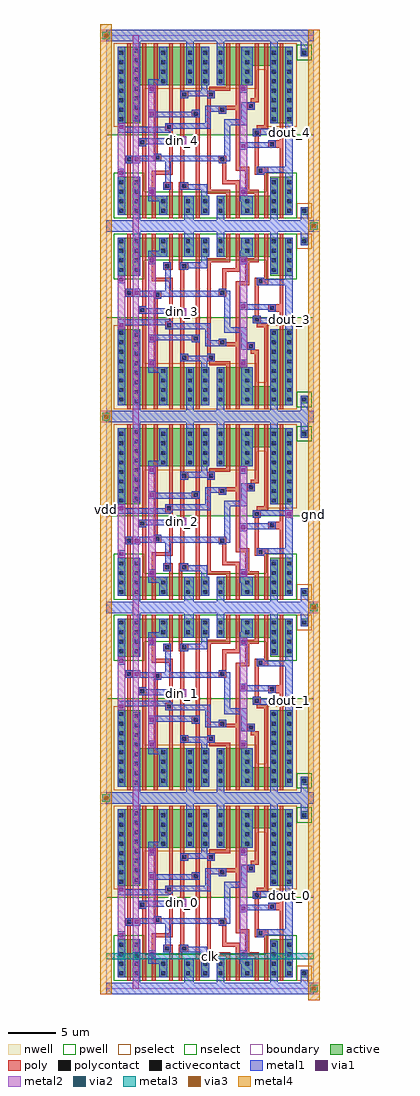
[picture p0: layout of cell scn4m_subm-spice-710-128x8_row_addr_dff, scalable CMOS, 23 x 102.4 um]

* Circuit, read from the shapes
.subckt scn4m_subm-spice-710-128x8_row_addr_dff clk din_0 din_1 din_2 din_3 din_4 dout_0 dout_1 dout_2 dout_3 dout_4 gnd vdd
M1 gnd clk n1 gnd nfet w=4u l=0.4u
M2 gnd clk n2 gnd nfet w=4u l=0.4u
M3 gnd clk n3 gnd nfet w=4u l=0.4u
M4 gnd clk n4 gnd nfet w=4u l=0.4u
M5 gnd clk n5 gnd nfet w=4u l=0.4u
M6 n6 din_0 gnd gnd nfet w=2u l=0.4u
M7 n7 din_1 gnd gnd nfet w=2u l=0.4u
M8 n8 din_2 gnd gnd nfet w=2u l=0.4u
M9 n9 din_3 gnd gnd nfet w=2u l=0.4u
M10 n10 din_4 gnd gnd nfet w=2u l=0.4u
M11 n11 n1 n6 gnd nfet w=2u l=0.4u
M12 n12 n2 n7 gnd nfet w=2u l=0.4u
M13 n13 n3 n8 gnd nfet w=2u l=0.4u
M14 n14 n4 n9 gnd nfet w=2u l=0.4u
M15 n15 n5 n10 gnd nfet w=2u l=0.4u
M16 n16 clk n11 gnd nfet w=2u l=0.4u
M17 n17 clk n12 gnd nfet w=2u l=0.4u
M18 n18 clk n13 gnd nfet w=2u l=0.4u
M19 n19 clk n14 gnd nfet w=2u l=0.4u
M20 n20 clk n15 gnd nfet w=2u l=0.4u
M21 gnd n21 n16 gnd nfet w=2u l=0.4u
M22 gnd n22 n17 gnd nfet w=2u l=0.4u
M23 gnd n23 n18 gnd nfet w=2u l=0.4u
M24 gnd n24 n19 gnd nfet w=2u l=0.4u
M25 gnd n25 n20 gnd nfet w=2u l=0.4u
M26 n21 n11 gnd gnd nfet w=2u l=0.4u
M27 n22 n12 gnd gnd nfet w=2u l=0.4u
M28 n23 n13 gnd gnd nfet w=2u l=0.4u
M29 n24 n14 gnd gnd nfet w=2u l=0.4u
M30 n25 n15 gnd gnd nfet w=2u l=0.4u
M31 n26 n21 gnd gnd nfet w=2u l=0.4u
M32 n27 n22 gnd gnd nfet w=2u l=0.4u
M33 n28 n23 gnd gnd nfet w=2u l=0.4u
M34 n29 n24 gnd gnd nfet w=2u l=0.4u
M35 n30 n25 gnd gnd nfet w=2u l=0.4u
M36 n31 clk n26 gnd nfet w=2u l=0.4u
M37 n32 clk n27 gnd nfet w=2u l=0.4u
M38 n33 clk n28 gnd nfet w=2u l=0.4u
M39 n34 clk n29 gnd nfet w=2u l=0.4u
M40 n35 clk n30 gnd nfet w=2u l=0.4u
M41 n36 n1 n31 gnd nfet w=2u l=0.4u
M42 n37 n2 n32 gnd nfet w=2u l=0.4u
M43 n38 n3 n33 gnd nfet w=2u l=0.4u
M44 n39 n4 n34 gnd nfet w=2u l=0.4u
M45 n40 n5 n35 gnd nfet w=2u l=0.4u
M46 gnd dout_0 n36 gnd nfet w=2u l=0.4u
M47 gnd dout_1 n37 gnd nfet w=2u l=0.4u
M48 gnd dout_2 n38 gnd nfet w=2u l=0.4u
M49 gnd dout_3 n39 gnd nfet w=2u l=0.4u
M50 gnd dout_4 n40 gnd nfet w=2u l=0.4u
M51 dout_0 n31 gnd gnd nfet w=4u l=0.4u
M52 dout_1 n32 gnd gnd nfet w=4u l=0.4u
M53 dout_2 n33 gnd gnd nfet w=4u l=0.4u
M54 dout_3 n34 gnd gnd nfet w=4u l=0.4u
M55 dout_4 n35 gnd gnd nfet w=4u l=0.4u
M56 vdd clk n1 vdd pfet w=8u l=0.4u
M57 vdd clk n2 vdd pfet w=8u l=0.4u
M58 vdd clk n3 vdd pfet w=8u l=0.4u
M59 vdd clk n4 vdd pfet w=8u l=0.4u
M60 vdd clk n5 vdd pfet w=8u l=0.4u
M61 n41 din_0 vdd vdd pfet w=4u l=0.4u
M62 n42 din_1 vdd vdd pfet w=4u l=0.4u
M63 n43 din_2 vdd vdd pfet w=4u l=0.4u
M64 n44 din_3 vdd vdd pfet w=4u l=0.4u
M65 n45 din_4 vdd vdd pfet w=4u l=0.4u
M66 n11 clk n41 vdd pfet w=4u l=0.4u
M67 n12 clk n42 vdd pfet w=4u l=0.4u
M68 n13 clk n43 vdd pfet w=4u l=0.4u
M69 n14 clk n44 vdd pfet w=4u l=0.4u
M70 n15 clk n45 vdd pfet w=4u l=0.4u
M71 n46 n1 n11 vdd pfet w=4u l=0.4u
M72 n47 n2 n12 vdd pfet w=4u l=0.4u
M73 n48 n3 n13 vdd pfet w=4u l=0.4u
M74 n49 n4 n14 vdd pfet w=4u l=0.4u
M75 n50 n5 n15 vdd pfet w=4u l=0.4u
M76 vdd n21 n46 vdd pfet w=4u l=0.4u
M77 vdd n22 n47 vdd pfet w=4u l=0.4u
M78 vdd n23 n48 vdd pfet w=4u l=0.4u
M79 vdd n24 n49 vdd pfet w=4u l=0.4u
M80 vdd n25 n50 vdd pfet w=4u l=0.4u
M81 n21 n11 vdd vdd pfet w=4u l=0.4u
M82 n22 n12 vdd vdd pfet w=4u l=0.4u
M83 n23 n13 vdd vdd pfet w=4u l=0.4u
M84 n24 n14 vdd vdd pfet w=4u l=0.4u
M85 n25 n15 vdd vdd pfet w=4u l=0.4u
M86 n51 n21 vdd vdd pfet w=4u l=0.4u
M87 n52 n22 vdd vdd pfet w=4u l=0.4u
M88 n53 n23 vdd vdd pfet w=4u l=0.4u
M89 n54 n24 vdd vdd pfet w=4u l=0.4u
M90 n55 n25 vdd vdd pfet w=4u l=0.4u
M91 n31 n1 n51 vdd pfet w=4u l=0.4u
M92 n32 n2 n52 vdd pfet w=4u l=0.4u
M93 n33 n3 n53 vdd pfet w=4u l=0.4u
M94 n34 n4 n54 vdd pfet w=4u l=0.4u
M95 n35 n5 n55 vdd pfet w=4u l=0.4u
M96 n56 clk n31 vdd pfet w=2u l=0.4u
M97 n57 clk n32 vdd pfet w=2u l=0.4u
M98 n58 clk n33 vdd pfet w=2u l=0.4u
M99 n59 clk n34 vdd pfet w=2u l=0.4u
M100 n60 clk n35 vdd pfet w=2u l=0.4u
M101 vdd dout_0 n56 vdd pfet w=2u l=0.4u
M102 vdd dout_1 n57 vdd pfet w=2u l=0.4u
M103 vdd dout_2 n58 vdd pfet w=2u l=0.4u
M104 vdd dout_3 n59 vdd pfet w=2u l=0.4u
M105 vdd dout_4 n60 vdd pfet w=2u l=0.4u
M106 dout_0 n31 vdd vdd pfet w=8u l=0.4u
M107 dout_1 n32 vdd vdd pfet w=8u l=0.4u
M108 dout_2 n33 vdd vdd pfet w=8u l=0.4u
M109 dout_3 n34 vdd vdd pfet w=8u l=0.4u
M110 dout_4 n35 vdd vdd pfet w=8u l=0.4u
.ends

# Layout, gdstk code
import gdstk
lib = gdstk.Library(unit=1e-6, precision=1e-09)
def R(c, l, rs):  # rectangles x0, y0, x1, y1
    for r in rs: c.add(gdstk.rectangle(r[:2], r[2:], *l))
def A(c, l, x, y, w, h, nx, ny, dx, dy):  # array of equal rectangles
    R(c, l, [(x+i*dx, y+j*dy, x+i*dx+w, y+j*dy+h) for i in range(nx) for j in range(ny)])
via3 = (30, 0)
metal4 = (31, 0)
pwell = (41, 0)
nwell = (42, 0)
active = (43, 0)
pselect = (44, 0)
nselect = (45, 0)
poly = (46, 0)
polycontact = (47, 0)
activecontact = (48, 0)
metal1 = (49, 0)
via1 = (50, 0)
metal2 = (51, 0)
via2 = (61, 0)
metal3 = (62, 0)
boundary = (63, 0)

dff = lib.new_cell('dff')
R(dff, pwell, [(0,-0.6,21.8,9.6)])
R(dff, nwell, [(0,9.6,21.8,20.6)])
R(dff, active, [(1.2,1.2,10.8,3.2), (11.6,1.2,19.6,3.2), (20.4,1.2,21.2,2), (1.2,3.2,3.6,5.2), (17.2,3.2,19.6,5.2), (1.2,10.8,3.6,14.8), (17.2,10.8,19.6,16.8), (1.2,14.8,10.8,18.8), (11.6,14.8,15.4,16.8), (11.6,16.8,19.6,18.8), (20.4,17.8,21.2,18.6)])
R(dff, pselect, [(20,0.8,21.6,2.4), (0.8,10.4,4,14.4), (16.8,10.4,20,16.4), (0.8,14.4,15.8,16.4), (0.8,16.4,20,19.2)])
R(dff, nselect, [(0.8,0.8,20,3.6), (0.8,3.6,4,5.6), (16.8,3.6,20,5.6), (20,17.4,21.6,19)])
R(dff, poly, [(2.2,0.8,2.6,6.6), (3.8,0.8,4.2,8.4), (4.8,0.8,5.2,5.4), (6.6,0.8,7,3.8), (7.6,0.8,8,3.8), (9.4,0.8,9.8,11.4), (12.6,0.8,13,3.4), (13.6,0.8,14,4.4), (15.6,0.8,16,3.4), (16.6,0.8,17,5.4), (18.2,0.8,18.6,8.2), (10.6,3.4,13,3.8), (14.6,3.4,16,3.8), (6,3.8,7,4.6), (7.6,3.8,8.6,4.6), (10.6,3.8,11,13.4), (14.6,3.8,15,5.8), (12.2,4.4,14,4.8), (7.8,4.6,8.2,13.4), (12.2,4.8,12.6,6.6), (4.8,5.4,7,5.8), (15.6,5.4,17,6.2), (6.6,5.8,7,10), (13.6,5.8,15,6.2), (13.6,6.2,14,12.2), (15.6,6.2,16,9.4), (2,6.6,2.8,7.4), (11.8,6.6,12.6,7.4), (5,6.8,5.8,7.6), (2.2,7.4,2.6,19.2), (5,7.6,5.4,19.2), (17,8.2,18.6,9), (3.4,8.4,4.2,9.2), (18.2,9,18.6,19.2), (3.8,9.2,4.2,19.2), (15.4,9.4,16.2,10.2), (6.2,10,7,10.8), (15.8,10.2,17,10.6), (16.6,10.6,17,19.2), (6.6,10.8,7,19.2), (9,11.4,9.8,12.2), (11.8,11.8,12.6,12.2), (9.4,12.2,9.8,19.2), (11.8,12.2,14,12.6), (14.8,12.2,15.6,13), (13.6,12.6,14,19.2), (15.2,13,16,13.4), (7.8,13.4,8.6,14.2), (10.6,13.4,11.4,14.2), (15.6,13.4,16,19.2), (7.8,14.2,8.2,19.2), (10.8,14.2,13,14.6), (12.6,14.6,13,19.2)])
R(dff, polycontact, [(6.2,4,6.6,4.4), (8,4,8.4,4.4), (16,5.6,16.4,6), (2.2,6.8,2.6,7.2), (12,6.8,12.4,7.2), (5.2,7,5.6,7.4), (17.2,8.4,17.6,8.8), (3.6,8.6,4,9), (15.6,9.6,16,10), (6.4,10.2,6.8,10.6), (9.2,11.6,9.6,12), (12,12,12.4,12.4), (15,12.4,15.4,12.8), (8,13.6,8.4,14), (10.8,13.6,11.2,14)])
A(dff, activecontact, 1.4, 1.4, 0.4, 0.4, 1, 4, 0, 1)
A(dff, activecontact, 3, 1.4, 0.4, 0.4, 1, 4, 0, 1)
A(dff, activecontact, 11.8, 1.4, 0.4, 0.4, 3, 2, 2.8, 1)
A(dff, activecontact, 19, 1.4, 0.4, 0.4, 1, 4, 0, 1)
A(dff, activecontact, 1.4, 11, 0.4, 0.4, 1, 8, 0, 1)
A(dff, activecontact, 17.4, 11, 0.4, 0.4, 1, 7, 0, 1)
A(dff, activecontact, 19, 11, 0.4, 0.4, 1, 7, 0, 1)
A(dff, activecontact, 3, 11.2, 0.4, 0.4, 1, 8, 0, 1)
A(dff, activecontact, 5.8, 15, 0.4, 0.4, 1, 4, 0, 1)
A(dff, activecontact, 8.6, 15, 0.4, 0.4, 3, 4, 1.6, 1)
A(dff, activecontact, 14.6, 15, 0.4, 0.4, 1, 4, 0, 1)
A(dff, activecontact, 17.4, 18, 0.4, 0.4, 3, 1, 1.6, 0)
R(dff, activecontact, [(5.8,1.4,6.2,1.8), (8.4,1.4,8.8,1.8), (10.2,1.4,10.6,1.8), (20.6,1.4,21,1.8), (5.8,2.4,6.2,2.8), (8.4,2.4,8.8,2.8), (10.2,2.4,10.6,2.8), (17.4,3.4,17.8,3.8), (17.4,4.4,17.8,4.8)])
R(dff, metal1, [(0,-0.6,21.8,0.6), (0,-0.6,21.8,0.6), (2.8,0.6,3.6,5.2), (8.2,0.6,9.2,3.2), (11.6,0.6,12.4,3.2), (17.2,0.6,18,5), (20.4,0.6,21.2,2), (1.2,1.2,2,6), (5.6,1.2,6.4,2.6), (10,1.2,10.8,3.2), (14.2,1.2,15.4,2.6), (18.8,1.2,19.6,5.6), (4.4,2.6,6.4,3.2), (14,2.6,15.4,3.2), (4.4,3.2,5.2,4), (10,3.2,10.6,3.8), (14,3.2,14.8,4), (6,3.8,6.8,4.6), (7.8,3.8,10.6,4.4), (7.8,4.4,8.6,4.6), (6.2,4.6,6.8,6.8), (15.8,5.4,16.6,5.6), (15.8,5.6,19.6,6.2), (18.8,6.2,19.6,9.6), (2,6.6,3.6,6.8), (11.8,6.6,12.6,6.8), (2,6.8,13,7.4), (5,7.4,5.8,7.6), (12.4,7.4,13,10.6), (14,8,14.8,8.2), (14,8.2,17.8,8.8), (3.4,8.4,4.2,8.6), (3.4,8.6,8.4,9.2), (17,8.8,17.8,9), (7.6,9.2,8.4,9.4), (15.4,9.4,16.2,9.6), (15.4,9.6,19.6,10.2), (1.2,9.8,6.8,10), (1.2,10,7,10.2), (1.2,10.2,11,10.4), (18.8,10.2,19.6,18.8), (1.2,10.4,2,18.8), (6.2,10.4,11,10.8), (12.4,10.6,14.8,11.2), (10.4,10.8,11,12), (17.2,10.8,18,19.4), (2.8,11,3.6,19.4), (14.2,11.2,14.8,12.2), (4.4,11.4,9.8,12), (11.8,11.8,12.6,12), (4.4,12,5.2,12.2), (9,12,9.8,12.2), (10.4,12,12.6,12.6), (14.2,12.2,15.6,13), (7.8,13.4,8.6,13.6), (10.6,13.4,11.4,13.6), (7.8,13.6,11.4,14.2), (4.4,14,5.2,14.8), (14,14,14.8,14.8), (10,14.2,10.6,14.8), (4.4,14.8,6.4,15.4), (8.4,14.8,9.2,19.4), (10,14.8,10.8,18.8), (11.6,14.8,12.4,19.4), (14.2,14.8,15.4,18.8), (5.6,15.4,6.4,18.8), (20.4,17.8,21.2,19.4), (0,19.4,21.8,20.6), (0,19.4,21.8,20.6)])
R(dff, via1, [(4.6,3.4,5,3.8), (14.2,3.4,14.6,3.8), (1.4,5.4,1.8,5.8), (3,6.8,3.4,7.2), (14.2,8.2,14.6,8.6), (7.8,8.8,8.2,9.2), (19,9.6,19.4,10), (1.4,10.2,1.8,10.6), (4.6,11.6,5,12), (4.6,14.2,5,14.6), (14.2,14.2,14.6,14.6)])
R(dff, metal2, [(4.4,3.2,5.2,14.8), (14,3.2,14.8,14.8), (1.2,5.2,2,10.8), (2.8,6.6,3.6,7.4), (2.8,6.6,3.6,7.4), (7.6,8.6,8.4,9.4), (7.6,8.6,8.4,9.4), (18.8,9.4,19.6,10.2), (18.8,9.4,19.6,10.2)])
R(dff, boundary, [(0,0,21.8,20)])
dff.add(gdstk.Label('clk', (3,6.8), layer=51, texttype=0))
dff.add(gdstk.Label('D', (8,9), layer=51, texttype=0))
dff.add(gdstk.Label('Q', (19.2,9.8), layer=51, texttype=0))
dff.add(gdstk.Label('vdd', (6.4,19.6), layer=49, texttype=0))
dff.add(gdstk.Label('gnd', (8.8,0.2), layer=49, texttype=0))
dff.add(gdstk.Label('D', (8,9), layer=51, texttype=0))
dff.add(gdstk.Label('Q', (19.2,9.8), layer=51, texttype=0))
dff.add(gdstk.Label('clk', (3.2,7), layer=51, texttype=0))
dff.add(gdstk.Label('vdd', (10.9,20), layer=49, texttype=0))
dff.add(gdstk.Label('gnd', (10.9,0), layer=49, texttype=0))

scn4m_subm_spice_710_128 = lib.new_cell('scn4m_subm-spice-710-128x8_contact_18')
R(scn4m_subm_spice_710_128, metal1, [(0,0,0.8,0.8)])
R(scn4m_subm_spice_710_128, via1, [(0.2,0.2,0.6,0.6)])
R(scn4m_subm_spice_710_128, metal2, [(0,0,0.8,0.8)])
R(scn4m_subm_spice_710_128, boundary, [(0,0,0.8,0.8)])

c_scn4m_subm_spice_710_128 = lib.new_cell('scn4m_subm-spice-710-128x8_contact_19')
R(c_scn4m_subm_spice_710_128, metal2, [(0,0,0.8,0.8)])
R(c_scn4m_subm_spice_710_128, via2, [(0.2,0.2,0.6,0.6)])
R(c_scn4m_subm_spice_710_128, metal3, [(0,0,0.8,0.8)])
R(c_scn4m_subm_spice_710_128, boundary, [(0,0,0.8,0.8)])

c_scn4m_subm_spice_710_128_ = lib.new_cell('scn4m_subm-spice-710-128x8_contact_22')
R(c_scn4m_subm_spice_710_128_, via3, [(0.4,0.4,0.8,0.8)])
R(c_scn4m_subm_spice_710_128_, metal4, [(0,0,1.2,1.2)])
R(c_scn4m_subm_spice_710_128_, metal3, [(0.2,0.2,1,1)])
R(c_scn4m_subm_spice_710_128_, boundary, [(0,0,1.2,1.2)])

c_scn4m_subm_spice_710_128__ = lib.new_cell('scn4m_subm-spice-710-128x8_row_addr_dff')
R(c_scn4m_subm_spice_710_128__, metal4, [(21.2,-1.2,22.4,100.6), (-0.6,-0.6,0.6,101.2)])
R(c_scn4m_subm_spice_710_128__, metal2, [(2.8,0,3.4,100), (7.6,8.6,8.4,9.4), (18.8,9.4,19.6,10.2), (18.8,29.8,19.6,30.6), (7.6,30.6,8.4,31.4), (7.6,48.6,8.4,49.4), (18.8,49.4,19.6,50.2), (18.8,69.8,19.6,70.6), (7.6,70.6,8.4,71.4), (7.6,88.6,8.4,89.4), (18.8,89.4,19.6,90.2)])
R(c_scn4m_subm_spice_710_128__, metal3, [(0,3.1,21.8,3.7)])
R(c_scn4m_subm_spice_710_128__, boundary, [(0,0,21.8,100)])
c_scn4m_subm_spice_710_128__.add(gdstk.Reference(dff, (0,0)))
c_scn4m_subm_spice_710_128__.add(gdstk.Reference(dff, (0,40), x_reflection=True))
c_scn4m_subm_spice_710_128__.add(gdstk.Reference(dff, (0,40)))
c_scn4m_subm_spice_710_128__.add(gdstk.Reference(dff, (0,80), x_reflection=True))
c_scn4m_subm_spice_710_128__.add(gdstk.Reference(dff, (0,80)))
c_scn4m_subm_spice_710_128__.add(gdstk.Reference(scn4m_subm_spice_710_128, (-0.4,19.6)))
c_scn4m_subm_spice_710_128__.add(gdstk.Reference(c_scn4m_subm_spice_710_128, (-0.4,19.6)))
c_scn4m_subm_spice_710_128__.add(gdstk.Reference(c_scn4m_subm_spice_710_128_, (-0.6,19.4)))
c_scn4m_subm_spice_710_128__.add(gdstk.Reference(scn4m_subm_spice_710_128, (-0.4,19.6)))
c_scn4m_subm_spice_710_128__.add(gdstk.Reference(c_scn4m_subm_spice_710_128, (-0.4,19.6)))
c_scn4m_subm_spice_710_128__.add(gdstk.Reference(c_scn4m_subm_spice_710_128_, (-0.6,19.4)))
c_scn4m_subm_spice_710_128__.add(gdstk.Reference(scn4m_subm_spice_710_128, (-0.4,59.6)))
c_scn4m_subm_spice_710_128__.add(gdstk.Reference(c_scn4m_subm_spice_710_128, (-0.4,59.6)))
c_scn4m_subm_spice_710_128__.add(gdstk.Reference(c_scn4m_subm_spice_710_128_, (-0.6,59.4)))
c_scn4m_subm_spice_710_128__.add(gdstk.Reference(scn4m_subm_spice_710_128, (-0.4,59.6)))
c_scn4m_subm_spice_710_128__.add(gdstk.Reference(c_scn4m_subm_spice_710_128, (-0.4,59.6)))
c_scn4m_subm_spice_710_128__.add(gdstk.Reference(c_scn4m_subm_spice_710_128_, (-0.6,59.4)))
c_scn4m_subm_spice_710_128__.add(gdstk.Reference(scn4m_subm_spice_710_128, (-0.4,99.6)))
c_scn4m_subm_spice_710_128__.add(gdstk.Reference(c_scn4m_subm_spice_710_128, (-0.4,99.6)))
c_scn4m_subm_spice_710_128__.add(gdstk.Reference(c_scn4m_subm_spice_710_128_, (-0.6,99.4)))
c_scn4m_subm_spice_710_128__.add(gdstk.Reference(scn4m_subm_spice_710_128, (21.4,-0.4)))
c_scn4m_subm_spice_710_128__.add(gdstk.Reference(c_scn4m_subm_spice_710_128, (21.4,-0.4)))
c_scn4m_subm_spice_710_128__.add(gdstk.Reference(c_scn4m_subm_spice_710_128_, (21.2,-0.6)))
c_scn4m_subm_spice_710_128__.add(gdstk.Reference(scn4m_subm_spice_710_128, (21.4,39.6)))
c_scn4m_subm_spice_710_128__.add(gdstk.Reference(c_scn4m_subm_spice_710_128, (21.4,39.6)))
c_scn4m_subm_spice_710_128__.add(gdstk.Reference(c_scn4m_subm_spice_710_128_, (21.2,39.4)))
c_scn4m_subm_spice_710_128__.add(gdstk.Reference(scn4m_subm_spice_710_128, (21.4,39.6)))
c_scn4m_subm_spice_710_128__.add(gdstk.Reference(c_scn4m_subm_spice_710_128, (21.4,39.6)))
c_scn4m_subm_spice_710_128__.add(gdstk.Reference(c_scn4m_subm_spice_710_128_, (21.2,39.4)))
c_scn4m_subm_spice_710_128__.add(gdstk.Reference(scn4m_subm_spice_710_128, (21.4,79.6)))
c_scn4m_subm_spice_710_128__.add(gdstk.Reference(c_scn4m_subm_spice_710_128, (21.4,79.6)))
c_scn4m_subm_spice_710_128__.add(gdstk.Reference(c_scn4m_subm_spice_710_128_, (21.2,79.4)))
c_scn4m_subm_spice_710_128__.add(gdstk.Reference(scn4m_subm_spice_710_128, (21.4,79.6)))
c_scn4m_subm_spice_710_128__.add(gdstk.Reference(c_scn4m_subm_spice_710_128, (21.4,79.6)))
c_scn4m_subm_spice_710_128__.add(gdstk.Reference(c_scn4m_subm_spice_710_128_, (21.2,79.4)))
c_scn4m_subm_spice_710_128__.add(gdstk.Reference(c_scn4m_subm_spice_710_128, (2.8,3)))
c_scn4m_subm_spice_710_128__.add(gdstk.Label('vdd', (0,50.3), layer=31, texttype=0))
c_scn4m_subm_spice_710_128__.add(gdstk.Label('gnd', (21.8,49.7), layer=31, texttype=0))
c_scn4m_subm_spice_710_128__.add(gdstk.Label('din_0', (8,9), layer=51, texttype=0))
c_scn4m_subm_spice_710_128__.add(gdstk.Label('dout_0', (19.2,9.8), layer=51, texttype=0))
c_scn4m_subm_spice_710_128__.add(gdstk.Label('din_1', (8,31), layer=51, texttype=0))
c_scn4m_subm_spice_710_128__.add(gdstk.Label('dout_1', (19.2,30.2), layer=51, texttype=0))
c_scn4m_subm_spice_710_128__.add(gdstk.Label('din_2', (8,49), layer=51, texttype=0))
c_scn4m_subm_spice_710_128__.add(gdstk.Label('dout_2', (19.2,49.8), layer=51, texttype=0))
c_scn4m_subm_spice_710_128__.add(gdstk.Label('din_3', (8,71), layer=51, texttype=0))
c_scn4m_subm_spice_710_128__.add(gdstk.Label('dout_3', (19.2,70.2), layer=51, texttype=0))
c_scn4m_subm_spice_710_128__.add(gdstk.Label('din_4', (8,89), layer=51, texttype=0))
c_scn4m_subm_spice_710_128__.add(gdstk.Label('dout_4', (19.2,89.8), layer=51, texttype=0))
c_scn4m_subm_spice_710_128__.add(gdstk.Label('clk', (10.9,3.4), layer=62, texttype=0))

lib.write_gds('scn4m_subm-spice-710-128x8_row_addr_dff.gds')
